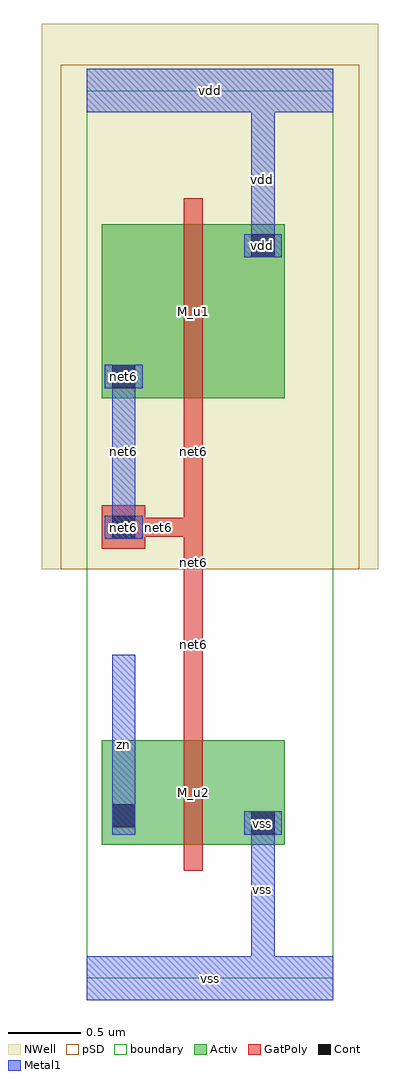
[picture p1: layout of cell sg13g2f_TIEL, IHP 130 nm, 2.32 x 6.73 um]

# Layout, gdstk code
import gdstk
lib = gdstk.Library(unit=1e-6, precision=1e-09)
def R(c, l, rs):  # rectangles x0, y0, x1, y1
    for r in rs: c.add(gdstk.rectangle(r[:2], r[2:], *l))
Activ = (1, 0)
GatPoly = (5, 0)
Cont = (6, 0)
Metal1 = (8, 0)
pSD = (14, 0)
NWell = (31, 0)
TEXT = (63, 0)
boundary = (189, 4)

sg13g2f_tiel = lib.new_cell('sg13g2f_TIEL')
R(sg13g2f_tiel, Activ, [(0.105,0.92,1.365,1.64), (1.065,0.92,1.365,1.22), (0.105,0.97,0.405,1.27), (0.105,4,1.365,5.2), (0.105,4,0.405,4.3), (1.065,4.9,1.365,5.2)])
R(sg13g2f_tiel, GatPoly, [(0.67,0.74,0.8,1.82), (0.67,1.425,0.8,3.175), (0.67,2.565,0.8,3.175), (0.105,2.96,0.405,3.26), (0.19,3.045,0.8,3.175), (0.67,3.045,0.8,4.215), (0.67,3.82,0.8,5.38)])
R(sg13g2f_tiel, Cont, [(1.135,0.99,1.295,1.15), (0.175,1.04,0.335,1.2), (0.175,3.03,0.335,3.19), (0.175,4.07,0.335,4.23), (1.135,4.97,1.295,5.13)])
R(sg13g2f_tiel, Metal1, [(0,-0.15,1.7,0.15), (1.135,0.07,1.295,1.15), (0.175,0.99,0.335,2.23), (0.175,0.99,0.335,1.25), (1.085,0.99,1.345,1.15), (0.125,3.03,0.385,3.19), (0.175,3.03,0.335,4.23), (0.125,4.07,0.385,4.23), (1.085,4.97,1.345,5.13), (1.135,4.97,1.295,6.05), (0,5.97,1.7,6.27)])
R(sg13g2f_tiel, pSD, [(-0.18,2.82,1.88,5.94), (-0.18,5.94,1.88,6.3)])
R(sg13g2f_tiel, NWell, [(-0.31,2.82,2.01,6.58)])
R(sg13g2f_tiel, boundary, [(0,0,1.7,6.12)])
sg13g2f_tiel.add(gdstk.FlexPath([(0.105,0.41),(1.365,0.41)], 0, ends="flush", simple_path=True, layer=63, datatype=0))  # TEXT
sg13g2f_tiel.add(gdstk.FlexPath([(0.105,1.07),(1.365,1.07)], 0, ends="flush", simple_path=True, layer=63, datatype=0))  # TEXT
sg13g2f_tiel.add(gdstk.FlexPath([(0.105,1.49),(1.365,1.49)], 0, ends="flush", simple_path=True, layer=63, datatype=0))  # TEXT
sg13g2f_tiel.add(gdstk.FlexPath([(0.105,2.15),(1.365,2.15)], 0, ends="flush", simple_path=True, layer=63, datatype=0))  # TEXT
sg13g2f_tiel.add(gdstk.FlexPath([(0.105,2.63),(1.365,2.63)], 0, ends="flush", simple_path=True, layer=63, datatype=0))  # TEXT
sg13g2f_tiel.add(gdstk.FlexPath([(0.105,3.11),(1.365,3.11)], 0, ends="flush", simple_path=True, layer=63, datatype=0))  # TEXT
sg13g2f_tiel.add(gdstk.FlexPath([(0.105,4.15),(1.365,4.15)], 0, ends="flush", simple_path=True, layer=63, datatype=0))  # TEXT
sg13g2f_tiel.add(gdstk.FlexPath([(0.105,4.71),(1.365,4.71)], 0, ends="flush", simple_path=True, layer=63, datatype=0))  # TEXT
sg13g2f_tiel.add(gdstk.FlexPath([(0.105,5.05),(1.365,5.05)], 0, ends="flush", simple_path=True, layer=63, datatype=0))  # TEXT
sg13g2f_tiel.add(gdstk.FlexPath([(0.105,5.71),(1.365,5.71)], 0, ends="flush", simple_path=True, layer=63, datatype=0))  # TEXT
sg13g2f_tiel.add(gdstk.FlexPath([(0.255,0.07),(0.255,6.05)], 0, ends="flush", simple_path=True, layer=63, datatype=0))  # TEXT
sg13g2f_tiel.add(gdstk.FlexPath([(0.735,0.07),(0.735,6.05)], 0, ends="flush", simple_path=True, layer=63, datatype=0))  # TEXT
sg13g2f_tiel.add(gdstk.FlexPath([(1.215,0.07),(1.215,6.05)], 0, ends="flush", simple_path=True, layer=63, datatype=0))  # TEXT
sg13g2f_tiel.add(gdstk.Label('net6', (0.255,4.15), layer=6, texttype=0))
sg13g2f_tiel.add(gdstk.Label('net6', (0.255,3.11), layer=6, texttype=0))
sg13g2f_tiel.add(gdstk.Label('vss', (1.215,1.07), layer=6, texttype=0))
sg13g2f_tiel.add(gdstk.Label('vdd', (1.215,5.05), layer=6, texttype=0))
sg13g2f_tiel.add(gdstk.Label('net6', (0.255,4.15), layer=8, texttype=0))
sg13g2f_tiel.add(gdstk.Label('net6', (0.255,3.11), layer=8, texttype=0))
sg13g2f_tiel.add(gdstk.Label('net6', (0.255,3.63), layer=8, texttype=0))
sg13g2f_tiel.add(gdstk.Label('vss', (1.215,1.07), layer=8, texttype=0))
sg13g2f_tiel.add(gdstk.Label('vss', (1.215,0.61), layer=8, texttype=0))
sg13g2f_tiel.add(gdstk.Label('vdd', (1.215,5.05), layer=8, texttype=0))
sg13g2f_tiel.add(gdstk.Label('vdd', (1.215,5.51), layer=8, texttype=0))
sg13g2f_tiel.add(gdstk.Label('zn', (0.255,1.61), layer=8, texttype=2))
sg13g2f_tiel.add(gdstk.Label('vss', (0.85,0), layer=8, texttype=2))
sg13g2f_tiel.add(gdstk.Label('vdd', (0.85,6.12), layer=8, texttype=2))
sg13g2f_tiel.add(gdstk.Label('zn', (0.255,1.61), layer=8, texttype=2))
sg13g2f_tiel.add(gdstk.Label('vss', (0.85,0), layer=8, texttype=2))
sg13g2f_tiel.add(gdstk.Label('vdd', (0.85,6.12), layer=8, texttype=2))
sg13g2f_tiel.add(gdstk.Label('M_u2', (0.735,1.28), layer=1, texttype=0))
sg13g2f_tiel.add(gdstk.Label('M_u1', (0.735,4.6), layer=1, texttype=0))
sg13g2f_tiel.add(gdstk.Label('net6', (0.255,4.15), layer=1, texttype=0))
sg13g2f_tiel.add(gdstk.Label('vss', (1.215,1.07), layer=1, texttype=0))
sg13g2f_tiel.add(gdstk.Label('vdd', (1.215,5.05), layer=1, texttype=0))
sg13g2f_tiel.add(gdstk.Label('zn', (0.255,1.61), layer=8, texttype=25))
sg13g2f_tiel.add(gdstk.Label('vss', (0.85,0), layer=8, texttype=25))
sg13g2f_tiel.add(gdstk.Label('vdd', (0.85,6.12), layer=8, texttype=25))
sg13g2f_tiel.add(gdstk.Label('net6', (0.735,2.3), layer=5, texttype=0))
sg13g2f_tiel.add(gdstk.Label('net6', (0.495,3.11), layer=5, texttype=0))
sg13g2f_tiel.add(gdstk.Label('net6', (0.255,3.11), layer=5, texttype=0))
sg13g2f_tiel.add(gdstk.Label('net6', (0.735,3.63), layer=5, texttype=0))
sg13g2f_tiel.add(gdstk.Label('net6', (0.735,2.87), layer=5, texttype=0))

lib.write_gds('sg13g2f_TIEL.gds')
